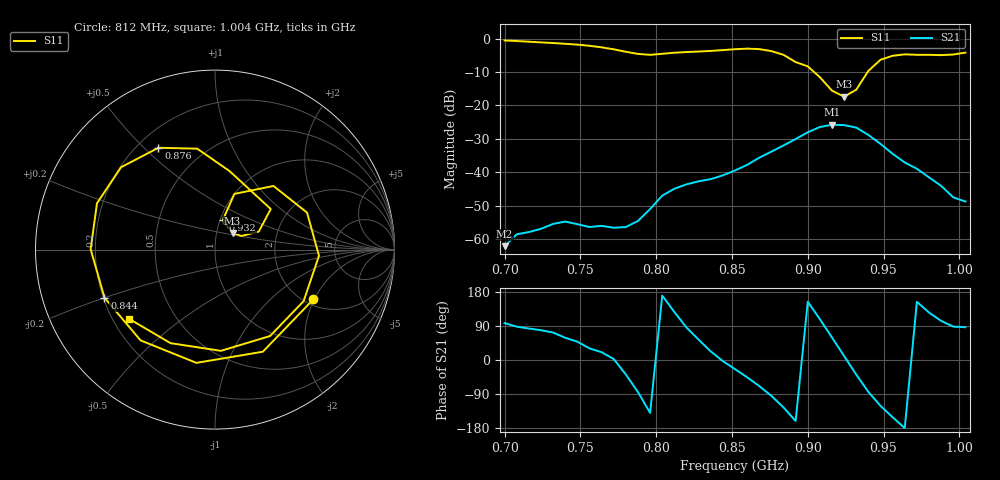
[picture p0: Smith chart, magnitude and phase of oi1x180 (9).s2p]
# Hz S RI R 50
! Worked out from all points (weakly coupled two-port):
!   39 points, 700 MHz to 1.004 GHz, reference 50 ohm
!   highest |S21| = -25.79 dB at 916 MHz (marker M1); lowest = -62.1 dB at 700 MHz (marker M2)
!   lowest |S11| = -17.4 dB at 924 MHz (marker M3), VSWR 1.31, Z = 59.7 + j11.3 ohm
!   |S11| at or under -10 dB: 904.2 MHz to 939.5 MHz (35.37 MHz wide, 3.84 % of centre)
!   S12 and S22 are empty: the file has one direction only
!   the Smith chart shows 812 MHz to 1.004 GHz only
!   S11 on the Smith chart (normalised r, x): 812 MHz: 2.22, -1.97; 844 MHz: 0.20, -0.20; 876 MHz: 0.28, +0.55; 932 MHz: 1.03, +0.35; 1.004 GHz: 0.27, -0.33
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7e8  0.7542 0.5558  -0.0001 0.000776  0 0  0 0
7.24e8  0.8421 -0.2424  0.000281 0.00139  0 0  0 0
7.4e8  0.458 -0.6979  0.000951 0.00156  0 0  0 0
7.56e8  -0.1882 -0.7566  0.0013 0.000771  0 0  0 0
7.72e8  -0.6604 -0.201  0.00148 6.42e-05  0 0  0 0
7.8e8  -0.5948 0.2201  0.00119 -0.000939  0 0  0 0
7.88e8  -0.2495 0.5338  0.000171 -0.00186  0 0  0 0
7.96e8  0.235 0.5205  -0.00214 -0.00182  0 0  0 0
8.04e8  0.5642 0.1776  -0.0044 0.000769  0 0  0 0
8.12e8  0.5482 -0.277  -0.00338 0.00455  0 0  0 0
8.28e8  -0.1033 -0.631  0.00433 0.0059  0 0  0 0
8.44e8  -0.6157 -0.2683  0.00898 -0.000479  0 0  0 0
8.52e8  -0.6927 0.00211  0.0097 -0.00434  0 0  0 0
8.76e8  -0.3154 0.5673  -0.00162 -0.0203  0 0  0 0
9e8  0.3105 0.2262  -0.0355 0.0176  0 0  0 0
9.08e8  0.2442 0.1006  -0.0145 0.0453  0 0  0 0
9.16e8  0.1478 0.0758  0.0262 0.0442  0 0  0 0
9.24e8  0.0977 0.0933  0.0499 0.00913  0 0  0 0
9.32e8  0.0442 0.1662  0.0364 -0.029  0 0  0 0
9.56e8  0.5129 0.2059  -0.0165 -0.0091  0 0  0 0
9.8e8  0.3065 -0.4816  -0.00484 0.00685  0 0  0 0
1.004e9  -0.4803 -0.3847  0.000224 0.00363  0 0  0 0
